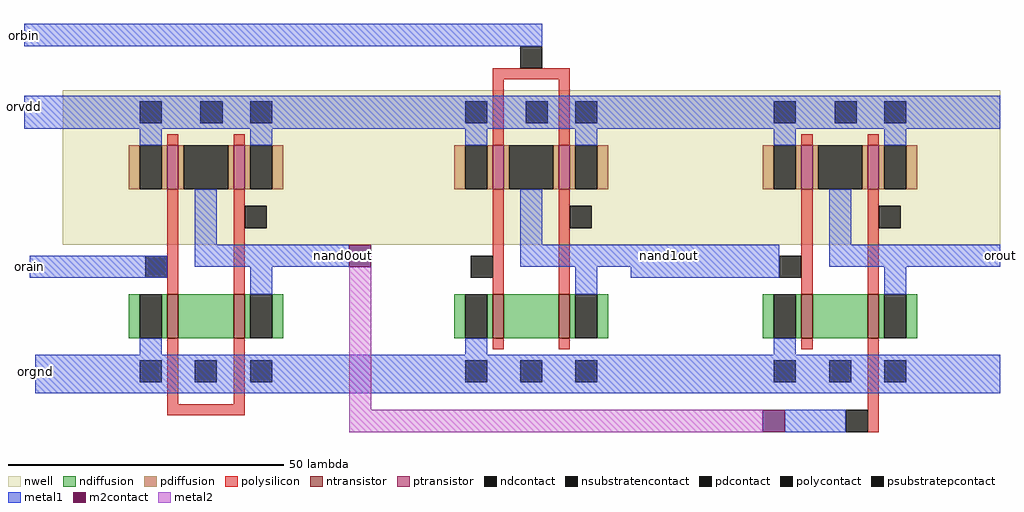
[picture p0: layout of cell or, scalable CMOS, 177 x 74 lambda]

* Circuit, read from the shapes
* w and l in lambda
.subckt or orain orbin orout orvdd orgnd
M1 n1 orain orgnd orgnd nfet w=8 l=2
M2 nand0out orain n1 orgnd nfet w=8 l=2
M3 n2 orbin orgnd orgnd nfet w=8 l=2
M4 nand1out orbin n2 orgnd nfet w=8 l=2
M5 n3 nand1out orgnd orgnd nfet w=8 l=2
M6 orout nand0out n3 orgnd nfet w=8 l=2
M7 nand0out orain orvdd orvdd pfet w=8 l=2 m=2
M8 nand1out orbin orvdd orvdd pfet w=8 l=2 m=2
M9 orout nand1out orvdd orvdd pfet w=8 l=2
M10 orvdd nand0out orout orvdd pfet w=8 l=2
.ends

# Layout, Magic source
magic
tech scmos
<< nwell >>
rect -6 27 164 55
<< polysilicon >>
rect 72 57 86 59
rect 72 46 74 57
rect 84 46 86 57
rect 13 -2 15 9
rect 25 -2 27 9
rect 13 -4 27 -2
rect 140 -7 142 9
<< metal1 >>
rect -13 63 81 67
rect -13 48 164 54
rect -12 21 13 25
rect 39 23 46 27
rect 97 21 124 27
rect 151 23 164 27
rect -11 0 164 7
rect 125 -7 136 -3
<< metal2 >>
rect 46 -3 50 23
rect 46 -7 121 -3
<< polycontact >>
rect 77 59 81 63
rect 136 -7 140 -3
<< m2contact >>
rect 46 23 50 27
rect 121 -7 125 -3
use nand_two  nand_two_2
transform 1 0 140 0 1 17
box -25 -17 17 38
use nand_two  nand_two_1
transform 1 0 84 0 1 17
box -25 -17 17 38
use nand_two  nand_two_0
transform 1 0 25 0 1 17
box -25 -17 17 38
<< labels >>
rlabel metal1 -12 23 -12 23 3 orain
port 1 e
rlabel metal1 -13 52 -13 52 3 orvdd
port 4 e
rlabel metal1 -11 4 -11 4 3 orgnd
port 5 e
rlabel metal1 164 25 164 25 7 orout
port 3 w
rlabel metal1 -13 65 -13 65 4 orbin
port 2 se
rlabel metal1 45 25 45 25 1 nand0out
rlabel metal1 104 25 104 25 1 nand1out
<< end >>

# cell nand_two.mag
magic
tech scmos
<< nwell >>
rect -25 10 17 38
<< polysilicon >>
rect -12 28 -10 30
rect 0 28 2 30
rect -12 1 -10 20
rect 0 1 2 20
rect -12 -9 -10 -7
rect 0 -9 2 -7
<< ndiffusion >>
rect -19 -7 -17 1
rect -13 -7 -12 1
rect -10 -7 0 1
rect 2 -7 3 1
rect 7 -7 9 1
<< pdiffusion >>
rect -19 20 -17 28
rect -13 20 -12 28
rect -10 20 -9 28
rect -1 20 0 28
rect 2 20 3 28
rect 7 20 9 28
<< metal1 >>
rect -20 36 10 37
rect -20 32 -17 36
rect -13 32 -6 36
rect -2 32 3 36
rect 7 32 10 36
rect -20 31 10 32
rect -17 28 -13 31
rect 3 28 7 31
rect -7 10 -3 20
rect -7 6 17 10
rect 3 1 7 6
rect -17 -10 -13 -7
rect -19 -11 9 -10
rect -19 -15 -17 -11
rect -13 -15 -7 -11
rect -3 -15 3 -11
rect 7 -15 9 -11
rect -19 -17 9 -15
<< ntransistor >>
rect -12 -7 -10 1
rect 0 -7 2 1
<< ptransistor >>
rect -12 20 -10 28
rect 0 20 2 28
<< polycontact >>
rect -16 4 -12 8
rect 2 13 6 17
<< ndcontact >>
rect -17 -7 -13 1
rect 3 -7 7 1
<< pdcontact >>
rect -17 20 -13 28
rect -9 20 -1 28
rect 3 20 7 28
<< psubstratepcontact >>
rect -17 -15 -13 -11
rect -7 -15 -3 -11
rect 3 -15 7 -11
<< nsubstratencontact >>
rect -17 32 -13 36
rect -6 32 -2 36
rect 3 32 7 36
<< labels >>
rlabel metal1 -7 34 -7 34 5 vdd
rlabel metal1 -11 -13 -11 -13 1 gnd
rlabel polycontact 5 15 5 15 1 inB
rlabel metal1 12 8 12 8 7 out
rlabel polycontact -14 6 -14 6 1 inA
<< end >>
